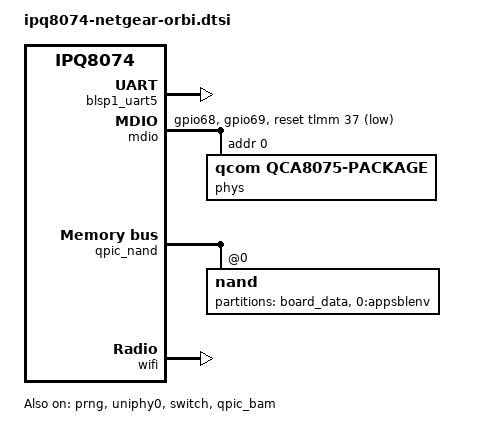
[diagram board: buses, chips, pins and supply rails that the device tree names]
// SPDX-License-Identifier: GPL-2.0-or-later OR MIT
/*
 * Copyright (c) 2026 Michael Lotz <mmlr@mlotz.ch>
 * Copyright (c) 2026 Piotr Szczepanik <piter75@gmail.com>
 */

/dts-v1/;

#include "ipq8074.dtsi"
#include "ipq8074-hk-cpu.dtsi"
#include "ipq8074-ess.dtsi"
#include <dt-bindings/gpio/gpio.h>

/ {
	aliases {
		serial0 = &blsp1_uart5;
	};

	chosen {
		stdout-path = "serial0:115200n8";
	};
};

&blsp1_uart5 {
	status = "okay";
};

&prng {
	status = "okay";
};

&edma {
	status = "okay";
};

&tlmm {
	mdio_pins: mdio-pins {
		mdc {
			pins = "gpio68";
			function = "mdc";
			drive-strength = <8>;
			bias-pull-up;
		};

		mdio {
			pins = "gpio69";
			function = "mdio";
			drive-strength = <8>;
			bias-pull-up;
		};
	};
};

&uniphy0 {
	status = "okay";
};

&switch {
	status = "okay";
};

&mdio {
	status = "okay";
	pinctrl-0 = <&mdio_pins>;
	pinctrl-names = "default";
	reset-gpios = <&tlmm 37 GPIO_ACTIVE_LOW>;

	phys: ethernet-phy-package@0 {
		#address-cells = <1>;
		#size-cells = <0>;
		compatible = "qcom,qca8075-package";
		reg = <0>;
	};
};

&qpic_bam {
	status = "okay";
};

&qpic_nand {
	status = "okay";

	/*
	 * Keep this node before nand@0 for boards whose vendor U-Boot uses the
	 * first partitions-like child as its legacy fixup target. Boards which
	 * do not need the diversion delete the empty node in their family DTSI.
	 */
	partitions {
	};

	nand@0 {
		reg = <0>;
		nand-ecc-strength = <4>;
		nand-ecc-step-size = <512>;
		nand-bus-width = <8>;

		partitions {
			compatible = "qcom,smem-part";

			partition-board_data {
				label = "board_data";

				nvmem-layout {
					compatible = "fixed-layout";
					#address-cells = <1>;
					#size-cells = <1>;

					macaddr_boarddata: macaddr@40 {
						compatible = "mac-base";
						reg = <0x40 0x6>;
						#nvmem-cell-cells = <1>;
					};
				};
			};

			partition-0-appsblenv {
				label = "0:appsblenv";

				nvmem-layout {
					compatible = "u-boot,env";
					env-size = <0x40000>;
				};
			};
		};
	};
};

&wifi {
	status = "okay";
};
